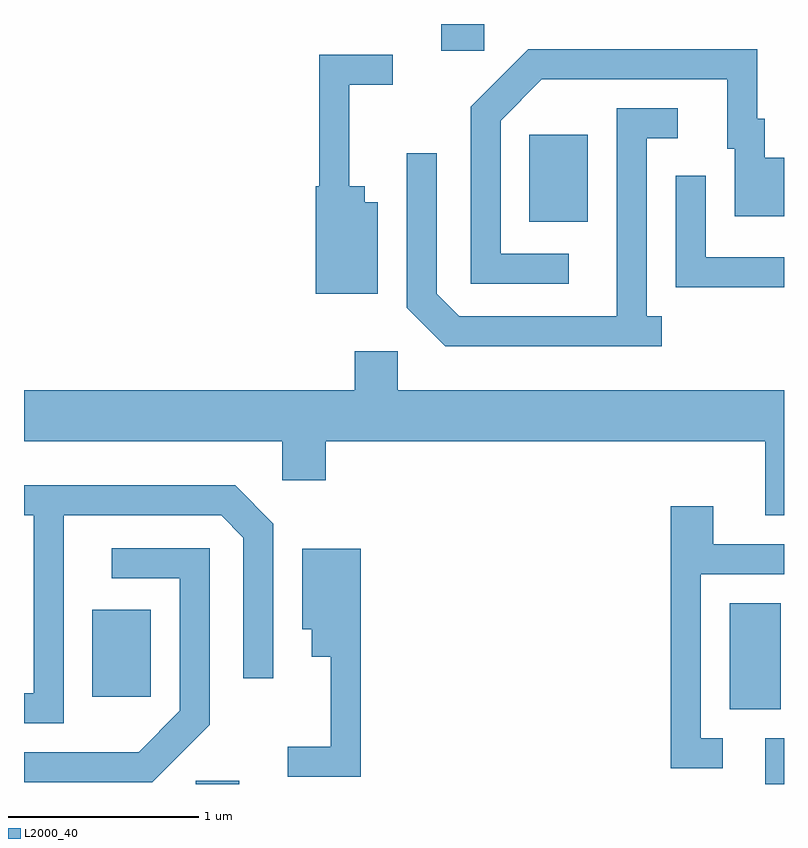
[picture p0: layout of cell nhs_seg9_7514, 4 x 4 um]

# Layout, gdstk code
import gdstk
lib = gdstk.Library(unit=1e-6, precision=1e-09)
def R(c, l, rs):  # rectangles x0, y0, x1, y1
    for r in rs: c.add(gdstk.rectangle(r[:2], r[2:], *l))
def P(c, l, *ps):  # polygons
    for p in ps: c.add(gdstk.Polygon(p, *l))
L2000_40 = (2000, 40)

nhs_seg9_7514 = lib.new_cell('nhs_seg9_7514')
R(nhs_seg9_7514, L2000_40, [(408.516,2014.432,408.744,2014.449), (411.511,2014.432,411.611,2014.674), (411.326,2014.826,411.594,2015.384), (407.971,2014.891,408.279,2015.349), (410.271,2017.391,410.579,2017.849), (409.806,2018.291,410.034,2018.432)])
P(nhs_seg9_7514, L2000_40, [(410.478,2017.224),(410.119,2017.224),(410.119,2017.924),(410.337,2018.141),(411.311,2018.141),(411.311,2017.776),(411.351,2017.776),(411.351,2017.421),(411.611,2017.421),(411.611,2017.729),(411.509,2017.729),(411.509,2017.934),(411.469,2017.934),(411.469,2018.299),(410.264,2018.299),(409.961,2017.997),(409.961,2017.066),(410.478,2017.066)],
  [(409.474,2017.494),(409.404,2017.494),(409.404,2017.579),(409.324,2017.579),(409.324,2018.111),(409.553,2018.111),(409.553,2018.269),(409.166,2018.269),(409.166,2017.579),(409.146,2017.579),(409.146,2017.011),(409.474,2017.011)],
  [(410.968,2016.894),(410.889,2016.894),(410.889,2017.831),(411.053,2017.831),(411.053,2017.989),(410.731,2017.989),(410.731,2016.894),(409.902,2016.894),(409.784,2017.012),(409.784,2017.753),(409.626,2017.753),(409.626,2016.939),(409.829,2016.736),(410.968,2016.736)],
  [(411.611,2017.204),(411.199,2017.204),(411.199,2017.633),(411.041,2017.633),(411.041,2017.046),(411.611,2017.046)],
  [(411.611,2016.504),(409.579,2016.504),(409.579,2016.709),(409.351,2016.709),(409.351,2016.504),(407.611,2016.504),(407.611,2016.236),(408.971,2016.236),(408.971,2016.031),(409.199,2016.031),(409.199,2016.236),(411.511,2016.236),(411.511,2015.846),(411.611,2015.846)],
  [(407.819,2015.846),(408.649,2015.846),(408.766,2015.729),(408.766,2014.988),(408.924,2014.988),(408.924,2015.802),(408.722,2016.004),(407.611,2016.004),(407.611,2015.846),(407.661,2015.846),(407.661,2014.909),(407.611,2014.909),(407.611,2014.751),(407.819,2014.751)],
  [(411.288,2014.674),(411.174,2014.674),(411.174,2015.536),(411.611,2015.536),(411.611,2015.694),(411.239,2015.694),(411.239,2015.894),(411.016,2015.894),(411.016,2014.516),(411.288,2014.516)],
  [(408.589,2014.744),(408.589,2015.674),(408.073,2015.674),(408.073,2015.516),(408.431,2015.516),(408.431,2014.817),(408.214,2014.599),(407.611,2014.599),(407.611,2014.441),(408.287,2014.441)],
  [(409.384,2015.669),(409.076,2015.669),(409.076,2015.246),(409.126,2015.246),(409.126,2015.101),(409.226,2015.101),(409.226,2014.629),(408.998,2014.629),(408.998,2014.471),(409.384,2014.471)])

lib.write_gds('nhs_seg9_7514.gds')
